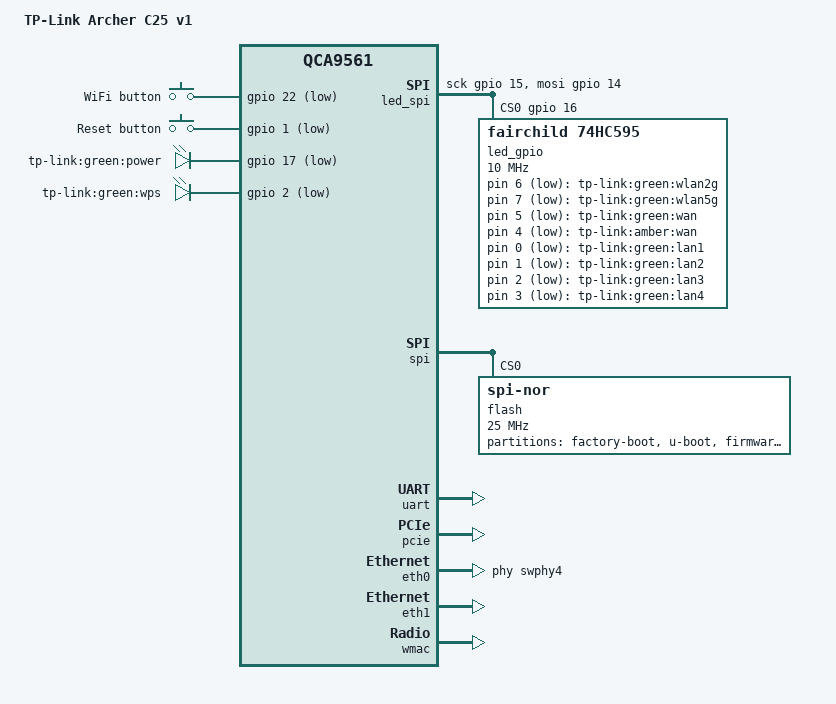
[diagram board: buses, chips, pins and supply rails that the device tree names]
// SPDX-License-Identifier: GPL-2.0-or-later OR MIT
/dts-v1/;

#include <dt-bindings/gpio/gpio.h>
#include <dt-bindings/input/input.h>

#include "qca956x.dtsi"

/ {
	compatible = "tplink,archer-c25-v1", "qca,qca9561";
	model = "TP-Link Archer C25 v1";

	aliases {
		led-boot = &led_power;
		led-failsafe = &led_power;
		led-running = &led_power;
		led-upgrade = &led_power;
		label-mac-device = &eth0;
	};

	led_spi {
		compatible = "spi-gpio";
		#address-cells = <1>;
		#size-cells = <0>;

		sck-gpios = <&gpio 15 GPIO_ACTIVE_HIGH>;
		mosi-gpios = <&gpio 14 GPIO_ACTIVE_HIGH>;
		cs-gpios = <&gpio 16 GPIO_ACTIVE_HIGH>;
		num-chipselects = <1>;

		led_gpio: led_gpio@0 {
			compatible = "fairchild,74hc595";
			reg = <0>;
			gpio-controller;
			#gpio-cells = <2>;
			registers-number = <1>;
			spi-max-frequency = <10000000>;
		};
	};

	keys {
		compatible = "gpio-keys";

		wifi {
			label = "WiFi button";
			linux,code = <KEY_RFKILL>;
			gpios = <&gpio 22 GPIO_ACTIVE_LOW>;
		};

		reset {
			label = "Reset button";
			linux,code = <KEY_RESTART>;
			gpios = <&gpio 1 GPIO_ACTIVE_LOW>;
		};
	};

	leds {
		compatible = "gpio-leds";

		led_power: power {
			label = "tp-link:green:power";
			gpios = <&gpio 17 GPIO_ACTIVE_LOW>;
			default-state = "on";
		};

		wps {
			label = "tp-link:green:wps";
			gpios = <&gpio 2 GPIO_ACTIVE_LOW>;
		};

		wlan2g {
			label = "tp-link:green:wlan2g";
			gpios = <&led_gpio 6 GPIO_ACTIVE_LOW>;
			linux,default-trigger = "phy1tpt";
		};

		wlan5g {
			label = "tp-link:green:wlan5g";
			gpios = <&led_gpio 7 GPIO_ACTIVE_LOW>;
			linux,default-trigger = "phy0tpt";
		};

		wan_green {
			label = "tp-link:green:wan";
			gpios = <&led_gpio 5 GPIO_ACTIVE_LOW>;
		};

		wan_amber {
			label = "tp-link:amber:wan";
			gpios = <&led_gpio 4 GPIO_ACTIVE_LOW>;
		};

		lan1 {
			label = "tp-link:green:lan1";
			gpios = <&led_gpio 0 GPIO_ACTIVE_LOW>;
		};

		lan2 {
			label = "tp-link:green:lan2";
			gpios = <&led_gpio 1 GPIO_ACTIVE_LOW>;
		};

		lan3 {
			label = "tp-link:green:lan3";
			gpios = <&led_gpio 2 GPIO_ACTIVE_LOW>;
		};

		lan4 {
			label = "tp-link:green:lan4";
			gpios = <&led_gpio 3 GPIO_ACTIVE_LOW>;
		};
	};
};

&spi {
	status = "okay";

	num-cs = <1>;

	flash@0 {
		compatible = "jedec,spi-nor";
		reg = <0>;
		spi-max-frequency = <25000000>;

		partitions {
			compatible = "fixed-partitions";
			#address-cells = <1>;
			#size-cells = <1>;

			partition@0 {
				label = "factory-boot";
				reg = <0x000000 0x020000>;
				read-only;
			};

			partition@20000 {
				label = "u-boot";
				reg = <0x020000 0x010000>;
				read-only;
			};

			partition@30000 {
				compatible = "denx,uimage";
				label = "firmware";
				reg = <0x030000 0x7a0000>;
			};

			config: partition@7d0000 {
				label = "config";
				reg = <0x7d0000 0x010000>;
				read-only;
			};

			info: partition@7e0000 {
				label = "info";
				reg = <0x7e0000 0x010000>;
				read-only;
			};

			art: partition@7f0000 {
				label = "art";
				reg = <0x7f0000 0x010000>;
				read-only;
			};
		};
	};
};

&uart {
	status = "okay";
};

&pcie {
	status = "okay";
};

&eth0 {
	status = "okay";

	phy-handle = <&swphy4>;

	mtd-mac-address = <&info 0x8>;
};

&eth1 {
	status = "okay";

	mtd-mac-address = <&info 0x8>;
	mtd-mac-address-increment = <1>;
};

&wmac {
	status = "okay";

	mtd-cal-data = <&art 0x1000>;
	mtd-mac-address = <&info 0x8>;
};
